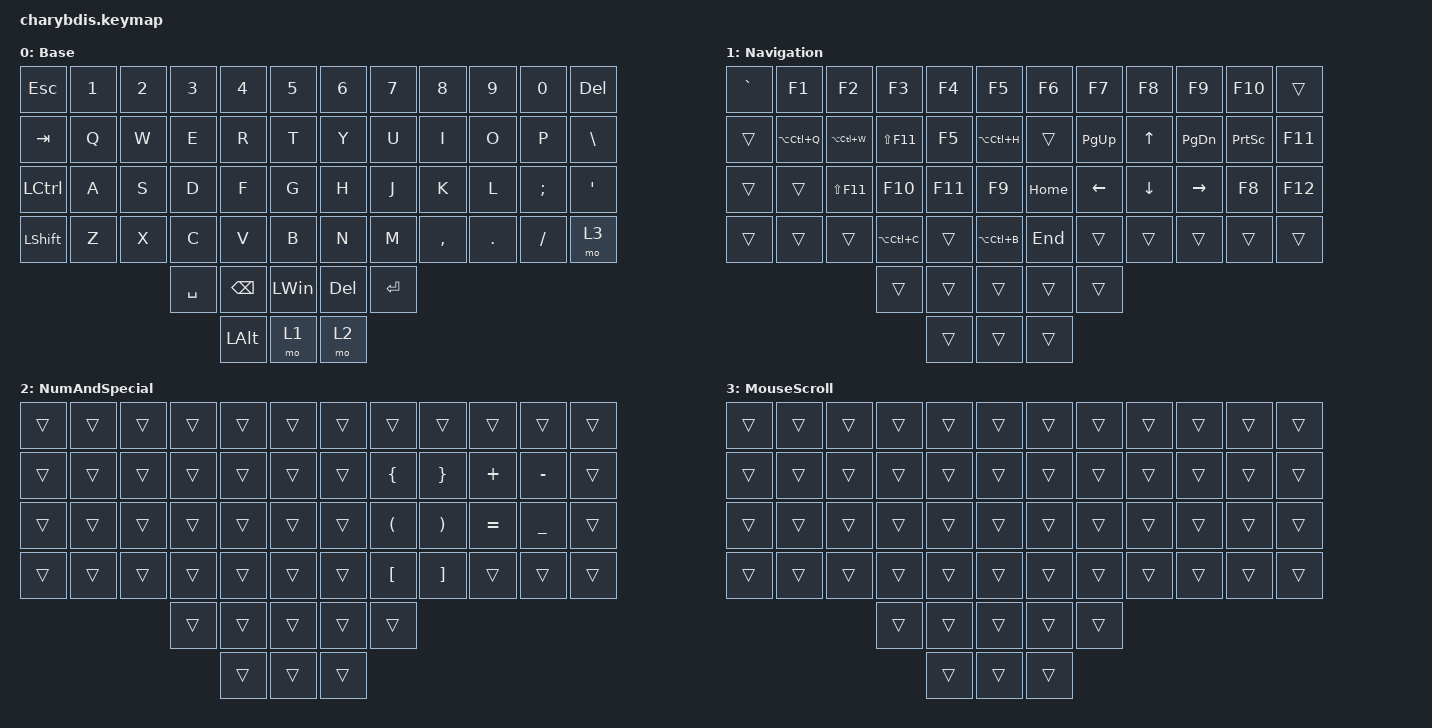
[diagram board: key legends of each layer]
#include <dt-bindings/zmk/mouse.h>
#include <behaviors/mouse_keys.dtsi>
#include <behaviors.dtsi>
#include <dt-bindings/zmk/bt.h>
#include <dt-bindings/zmk/keys.h>
#include <dt-bindings/zmk/pointing.h>

/ {
    /* input config for mouse move mode */

    trackball_listener {
        compatible = "zmk,input-behavior-listener";
        device = <&vtrackball>;
        layers = <0 1 2>;
        evt-type = <INPUT_EV_REL>;
        x-input-code = <INPUT_REL_X>;
        y-input-code = <INPUT_REL_Y>;
        scale-multiplier = <1>;
        scale-divisor = <2>;

        // bindings = <&ib_toggle_layer 7>;
    };

    /* input config for mouse scroll mode */

    trackball_scroll_listener {
        compatible = "zmk,input-behavior-listener";
        device = <&vtrackball>;
        layers = <3>;
        evt-type = <INPUT_EV_REL>;
        x-input-code = <INPUT_REL_MISC>;
        y-input-code = <INPUT_REL_WHEEL>;
        y-invert;
        bindings = <&ib_wheel_scaler 1 14>;
    };

    /* define a resolution down scaler only for INPUT_REL_WHEEL */

    ib_wheel_scaler: ib_wheel_scaler {
        compatible = "zmk,input-behavior-scaler";
        #binding-cells = <2>;
        evt-type = <INPUT_EV_REL>;
        input-code = <INPUT_REL_WHEEL>;
    };

    /* adjust cooldown waiting period for mouse key layer after activated */

    ib_toggle_layer: ib_toggle_layer {
        compatible = "zmk,input-behavior-tog-layer";
        #binding-cells = <1>;
        time-to-live-ms = <750>;
    };

    combos {
        compatible = "zmk,combos";

        bt_reset {
            bindings = <&bt BT_CLR_ALL>;
            key-positions = <54 11 0 55>;
            layers = <0>;
        };

        rh_leftClick {
            bindings = <&mkp LCLK>;
            key-positions = <43 44>;
        };

        rh_rightClick {
            bindings = <&mkp RCLK>;
            key-positions = <44 45>;
        };

        rh_middleClick {
            bindings = <&mkp MCLK>;
            key-positions = <44 45 43>;
        };

        lh_leftClick {
            bindings = <&mkp LCLK>;
            key-positions = <40 39>;
        };

        lh_rightClick {
            bindings = <&mkp RCLK>;
            key-positions = <38 39>;
        };

        lh_middleClick {
            bindings = <&mkp MCLK>;
            key-positions = <38 39 40>;
        };
    };

    keymap {
        compatible = "zmk,keymap";

        Base {
            bindings = <
&kp ESC           &kp N1  &kp N2  &kp N3     &kp N4         &kp N5          &kp N6      &kp N7     &kp N8     &kp N9   &kp N0     &kp DELETE
&kp TAB           &kp Q   &kp W   &kp E      &kp R          &kp T           &kp Y       &kp U      &kp I      &kp O    &kp P      &kp BACKSLASH
&kp LEFT_CONTROL  &kp A   &kp S   &kp D      &kp F          &kp G           &kp H       &kp J      &kp K      &kp L    &kp SEMI   &kp APOS
&kp LEFT_SHIFT    &kp Z   &kp X   &kp C      &kp V          &kp B           &kp N       &kp M      &kp COMMA  &kp DOT  &kp SLASH  &mo 3
                                  &kp SPACE  &kp BACKSPACE  &kp LEFT_WIN    &kp DELETE  &kp ENTER
                                             &kp LEFT_ALT   &mo 1           &mo 2
            >;
        };

        Navigation {
            bindings = <
&kp GRAVE  &kp F1         &kp F2         &kp F3         &kp F4   &kp F5           &kp F6    &kp F7          &kp F8          &kp F9           &kp F10          &trans
&trans     &kp LA(LC(Q))  &kp LA(LC(W))  &kp LS(F11)    &kp F5   &kp LA(LC(H))    &trans    &kp PAGE_UP     &kp UP_ARROW    &kp PAGE_DOWN    &kp PRINTSCREEN  &kp F11
&trans     &trans         &kp LS(F11)    &kp F10        &kp F11  &kp F9           &kp HOME  &kp LEFT_ARROW  &kp DOWN_ARROW  &kp RIGHT_ARROW  &kp F8           &kp F12
&trans     &trans         &trans         &kp LA(LC(C))  &trans   &kp LA(LC(B))    &kp END   &trans          &trans          &trans           &trans           &trans
                                         &trans         &trans   &trans           &trans    &trans
                                                        &trans   &trans           &trans
            >;
        };

        NumAndSpecial {
            bindings = <
&trans  &trans  &trans  &trans  &trans  &trans    &trans  &trans                &trans                 &trans     &trans          &trans
&trans  &trans  &trans  &trans  &trans  &trans    &trans  &kp LEFT_BRACE        &kp RIGHT_BRACE        &kp PLUS   &kp MINUS       &trans
&trans  &trans  &trans  &trans  &trans  &trans    &trans  &kp LEFT_PARENTHESIS  &kp RIGHT_PARENTHESIS  &kp EQUAL  &kp UNDERSCORE  &trans
&trans  &trans  &trans  &trans  &trans  &trans    &trans  &kp LEFT_BRACKET      &kp RIGHT_BRACKET      &trans     &trans          &trans
                        &trans  &trans  &trans    &trans  &trans
                                &trans  &trans    &trans
            >;
        };

        MouseScroll {
            bindings = <
&trans  &trans  &trans  &trans  &trans  &trans    &trans  &trans  &trans  &trans  &trans  &trans
&trans  &trans  &trans  &trans  &trans  &trans    &trans  &trans  &trans  &trans  &trans  &trans
&trans  &trans  &trans  &trans  &trans  &trans    &trans  &trans  &trans  &trans  &trans  &trans
&trans  &trans  &trans  &trans  &trans  &trans    &trans  &trans  &trans  &trans  &trans  &trans
                        &trans  &trans  &trans    &trans  &trans
                                &trans  &trans    &trans
            >;
        };
    };
};
